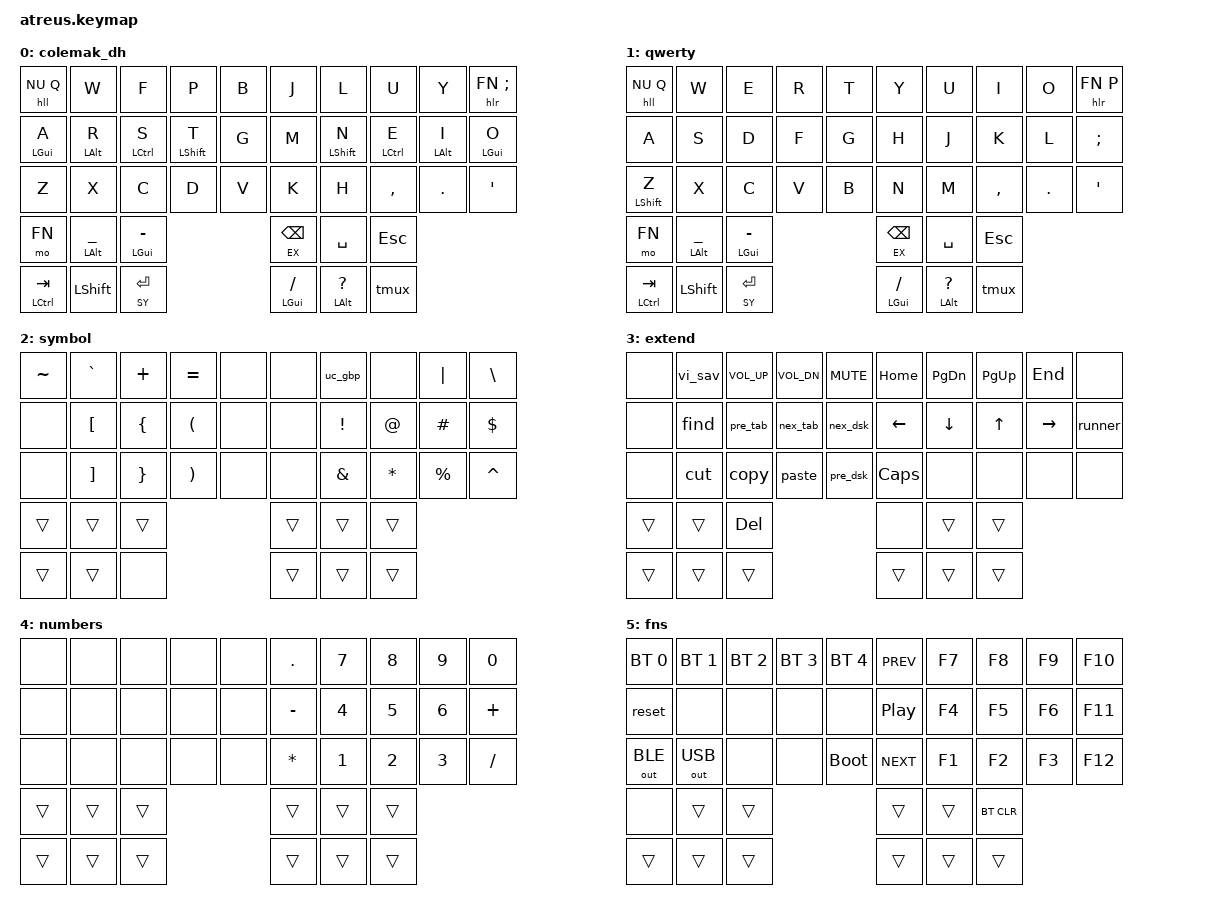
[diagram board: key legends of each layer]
/*
 * Copyright (c) 2021 The ZMK Contributors
 *
 * SPDX-License-Identifier: MIT
 */

#include "hold_tap_behaviors.dtsi"
#include <dt-bindings/zmk/keys.h>
#include <dt-bindings/zmk/bt.h>
#include <dt-bindings/zmk/outputs.h>

// shortcuts

// Layers
#define CO 0
#define QW 1
#define SY 2
#define EX 3
#define NU 4
#define FN 5

/ {
  macros {
    ZMK_MACRO(uc_gbp, wait-ms = <16>; bindings = <&kp LC(LS(U))>, <&kp N0 &kp N0 &kp A &kp N3>, <&kp SPACE>;) // this doesn't work on Mac
    ZMK_MACRO(vi_sav, wait-ms = <16>; bindings = <&kp COLON &kp W>, <&kp RET>;)
    ZMK_MACRO(runner, bindings = <&kp LC(SPACE)>;)
    ZMK_MACRO(find, bindings = <&kp LC(F)>;)
    ZMK_MACRO(pre_tab, bindings = <&kp LC(LS(TAB))>;)
    ZMK_MACRO(nex_tab, bindings = <&kp LC(TAB)>;)
    ZMK_MACRO(pre_dsk, bindings = <&kp LC(LG(LEFT))>;)
    ZMK_MACRO(nex_dsk, bindings = <&kp LC(LG(RIGHT))>;)
    ZMK_MACRO(tmux, bindings = <&kp LC(B)>;)
    ZMK_MACRO(cut, bindings = <&kp LC(X)>;)
    ZMK_MACRO(copy, bindings = <&kp LC(C)>;)
    ZMK_MACRO(paste, bindings = <&kp LC(V)>;)
  };

  keymap {
    compatible = "zmk,keymap";

      colemak_dh {
        bindings = <
          &hll NU Q   &kp W       &kp F       &kp P        &kp B &kp J &kp L        &kp U       &kp Y       &hlr FN SEMI
          &hml LGUI A &hml LALT R &hml LCTL S &hml LSHFT T &kp G &kp M &hmr LSHFT N &hmr LCTL E &hmr LALT I &hmr LGUI O
          &kp Z       &kp X       &kp C       &kp D        &kp V &kp K &kp H        &kp COMMA   &kp DOT     &kp SQT

          &mo FN       &hml LALT UNDER &hml LGUI MINUS &htl EX BSPC   &kp SPACE       &kp ESC //left
          &mt LCTL TAB &kp LSHFT       &htl SY RET     &hmr LGUI FSLH &hmr LALT QMARK &tmux   //right
        >;
      };

      qwerty {
        bindings = <
          &hll NU Q    &kp W &kp E &kp R &kp T &kp Y &kp U &kp I     &kp O   &hlr FN P
          &kp A        &kp S &kp D &kp F &kp G &kp H &kp J &kp K     &kp L   &kp SEMI
          &hml LSHFT Z &kp X &kp C &kp V &kp B &kp N &kp M &kp COMMA &kp DOT &kp SQT

          &mo FN        &hml LALT UNDER &hml LGUI MINUS &htl EX BSPC   &kp SPACE       &kp ESC //left
          &mt LCTL TAB &kp LSHFT       &htl SY RET     &hmr LGUI FSLH &hmr LALT QMARK &tmux   //right
        >;
      };

      // Symbol Layer
      symbol {
        bindings = <
          &kp TILDE &kp GRAVE &kp PLUS &kp EQUAL &none &none &uc_gbp  &none    &kp PIPE  &kp BSLH
          &none     &kp LBKT  &kp LBRC &kp LPAR  &none &none &kp EXCL &kp AT   &kp HASH  &kp DLLR
          &none     &kp RBKT  &kp RBRC &kp RPAR  &none &none &kp AMPS &kp STAR &kp PRCNT &kp CARET

          &trans &trans &trans &trans &trans &trans //left
          &trans &trans &none  &trans &trans &trans //right
        >;
      };

      // Extend Layer with Macros and Special Keys
      extend {
        bindings = <
          &none &vi_sav &kp C_VOL_UP &kp C_VOL_DN &kp C_MUTE &kp HOME &kp PG_DN &kp PG_UP &kp END   &none
          &none &find   &pre_tab     &nex_tab     &nex_dsk   &kp LEFT &kp DOWN  &kp UP    &kp RIGHT &runner
          &none &cut    &copy        &paste       &pre_dsk   &kp CAPS &none     &none     &none     &none

          &trans &trans &kp DEL &none  &trans &trans //left
          &trans &trans &trans  &trans &trans &trans //right
        >;
      };

      // Numpad
      numbers {
        bindings = <
          &none &none &none &none &none &kp DOT   &kp N7 &kp N8 &kp N9 &kp N0
          &none &none &none &none &none &kp MINUS &kp N4 &kp N5 &kp N6 &kp PLUS
          &none &none &none &none &none &kp STAR  &kp N1 &kp N2 &kp N3 &kp FSLH

          &trans &trans &trans &trans &trans &trans //left
          &trans &trans &trans &trans &trans &trans //right
        >;
      };

      // Adjustments layer and Fn Keys
      fns {
        bindings = <
          &bt BT_SEL 0 &bt BT_SEL 1 &bt BT_SEL 2 &bt BT_SEL 3 &bt BT_SEL 4 &kp C_PREV &kp F7 &kp F8 &kp F9 &kp F10
          &reset       &none        &none        &none        &none        &kp C_PP   &kp F4 &kp F5 &kp F6 &kp F11
          &out OUT_BLE &out OUT_USB &none        &none        &bootloader  &kp C_NEXT &kp F1 &kp F2 &kp F3 &kp F12

          &none  &trans &trans &trans &trans &bt BT_CLR //left
          &trans &trans &trans &trans &trans &trans //right
        >;
      };
  };
};
